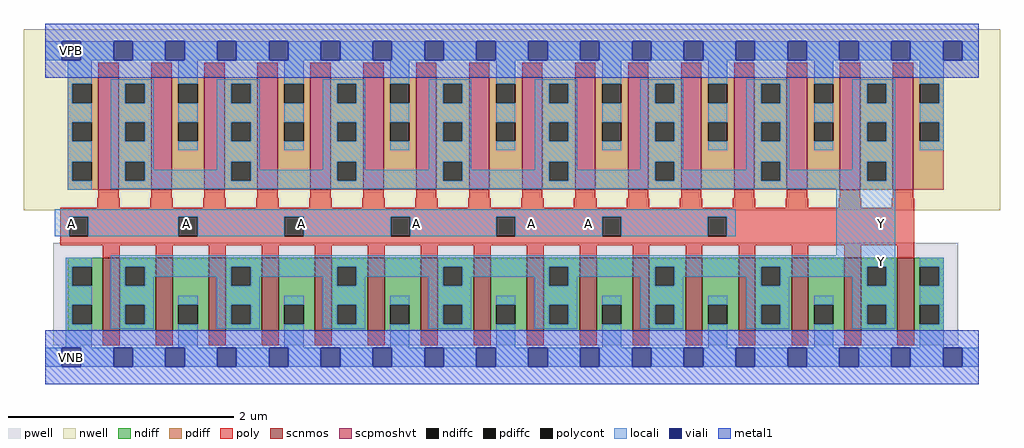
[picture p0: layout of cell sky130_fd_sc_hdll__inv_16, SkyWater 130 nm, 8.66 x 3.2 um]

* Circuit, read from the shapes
.subckt sky130_fd_sc_hdll__inv_16 A VGND VNB VPB VPWR Y
XM1 Y A VGND VNB sky130_fd_pr__nfet_01v8 w=0.65 l=0.15 m=16
XM2 Y A VPWR VPB sky130_fd_pr__pfet_01v8_hvt w=1 l=0.18 m=16
.ends

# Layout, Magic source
magic
tech sky130A
magscale 1 2
<< nwell >>
rect -38 261 1694 582
<< pwell >>
rect 14 21 1620 203
rect 29 -17 63 21
<< scnmos >>
rect 102 47 132 177
rect 196 47 226 177
rect 290 47 320 177
rect 384 47 414 177
rect 478 47 508 177
rect 572 47 602 177
rect 666 47 696 177
rect 760 47 790 177
rect 854 47 884 177
rect 948 47 978 177
rect 1042 47 1072 177
rect 1136 47 1166 177
rect 1230 47 1260 177
rect 1324 47 1354 177
rect 1418 47 1448 177
rect 1512 47 1542 177
<< scpmoshvt >>
rect 94 297 130 497
rect 188 297 224 497
rect 282 297 318 497
rect 376 297 412 497
rect 470 297 506 497
rect 564 297 600 497
rect 658 297 694 497
rect 752 297 788 497
rect 846 297 882 497
rect 940 297 976 497
rect 1034 297 1070 497
rect 1128 297 1164 497
rect 1222 297 1258 497
rect 1316 297 1352 497
rect 1410 297 1446 497
rect 1504 297 1540 497
<< ndiff >>
rect 40 161 102 177
rect 40 127 48 161
rect 82 127 102 161
rect 40 93 102 127
rect 40 59 48 93
rect 82 59 102 93
rect 40 47 102 59
rect 132 161 196 177
rect 132 127 142 161
rect 176 127 196 161
rect 132 93 196 127
rect 132 59 142 93
rect 176 59 196 93
rect 132 47 196 59
rect 226 93 290 177
rect 226 59 236 93
rect 270 59 290 93
rect 226 47 290 59
rect 320 161 384 177
rect 320 127 330 161
rect 364 127 384 161
rect 320 93 384 127
rect 320 59 330 93
rect 364 59 384 93
rect 320 47 384 59
rect 414 93 478 177
rect 414 59 424 93
rect 458 59 478 93
rect 414 47 478 59
rect 508 161 572 177
rect 508 127 518 161
rect 552 127 572 161
rect 508 93 572 127
rect 508 59 518 93
rect 552 59 572 93
rect 508 47 572 59
rect 602 93 666 177
rect 602 59 612 93
rect 646 59 666 93
rect 602 47 666 59
rect 696 161 760 177
rect 696 127 706 161
rect 740 127 760 161
rect 696 93 760 127
rect 696 59 706 93
rect 740 59 760 93
rect 696 47 760 59
rect 790 93 854 177
rect 790 59 800 93
rect 834 59 854 93
rect 790 47 854 59
rect 884 161 948 177
rect 884 127 894 161
rect 928 127 948 161
rect 884 93 948 127
rect 884 59 894 93
rect 928 59 948 93
rect 884 47 948 59
rect 978 93 1042 177
rect 978 59 988 93
rect 1022 59 1042 93
rect 978 47 1042 59
rect 1072 161 1136 177
rect 1072 127 1082 161
rect 1116 127 1136 161
rect 1072 93 1136 127
rect 1072 59 1082 93
rect 1116 59 1136 93
rect 1072 47 1136 59
rect 1166 93 1230 177
rect 1166 59 1176 93
rect 1210 59 1230 93
rect 1166 47 1230 59
rect 1260 161 1324 177
rect 1260 127 1270 161
rect 1304 127 1324 161
rect 1260 93 1324 127
rect 1260 59 1270 93
rect 1304 59 1324 93
rect 1260 47 1324 59
rect 1354 93 1418 177
rect 1354 59 1364 93
rect 1398 59 1418 93
rect 1354 47 1418 59
rect 1448 161 1512 177
rect 1448 127 1458 161
rect 1492 127 1512 161
rect 1448 93 1512 127
rect 1448 59 1458 93
rect 1492 59 1512 93
rect 1448 47 1512 59
rect 1542 161 1594 177
rect 1542 127 1552 161
rect 1586 127 1594 161
rect 1542 93 1594 127
rect 1542 59 1552 93
rect 1586 59 1594 93
rect 1542 47 1594 59
<< pdiff >>
rect 40 485 94 497
rect 40 451 48 485
rect 82 451 94 485
rect 40 417 94 451
rect 40 383 48 417
rect 82 383 94 417
rect 40 347 94 383
rect 40 313 48 347
rect 82 313 94 347
rect 40 297 94 313
rect 130 485 188 497
rect 130 451 142 485
rect 176 451 188 485
rect 130 417 188 451
rect 130 383 142 417
rect 176 383 188 417
rect 130 347 188 383
rect 130 313 142 347
rect 176 313 188 347
rect 130 297 188 313
rect 224 485 282 497
rect 224 451 236 485
rect 270 451 282 485
rect 224 417 282 451
rect 224 383 236 417
rect 270 383 282 417
rect 224 297 282 383
rect 318 485 376 497
rect 318 451 330 485
rect 364 451 376 485
rect 318 417 376 451
rect 318 383 330 417
rect 364 383 376 417
rect 318 347 376 383
rect 318 313 330 347
rect 364 313 376 347
rect 318 297 376 313
rect 412 485 470 497
rect 412 451 424 485
rect 458 451 470 485
rect 412 417 470 451
rect 412 383 424 417
rect 458 383 470 417
rect 412 297 470 383
rect 506 485 564 497
rect 506 451 518 485
rect 552 451 564 485
rect 506 417 564 451
rect 506 383 518 417
rect 552 383 564 417
rect 506 347 564 383
rect 506 313 518 347
rect 552 313 564 347
rect 506 297 564 313
rect 600 485 658 497
rect 600 451 612 485
rect 646 451 658 485
rect 600 417 658 451
rect 600 383 612 417
rect 646 383 658 417
rect 600 297 658 383
rect 694 485 752 497
rect 694 451 706 485
rect 740 451 752 485
rect 694 417 752 451
rect 694 383 706 417
rect 740 383 752 417
rect 694 347 752 383
rect 694 313 706 347
rect 740 313 752 347
rect 694 297 752 313
rect 788 485 846 497
rect 788 451 800 485
rect 834 451 846 485
rect 788 417 846 451
rect 788 383 800 417
rect 834 383 846 417
rect 788 297 846 383
rect 882 485 940 497
rect 882 451 894 485
rect 928 451 940 485
rect 882 417 940 451
rect 882 383 894 417
rect 928 383 940 417
rect 882 347 940 383
rect 882 313 894 347
rect 928 313 940 347
rect 882 297 940 313
rect 976 485 1034 497
rect 976 451 988 485
rect 1022 451 1034 485
rect 976 417 1034 451
rect 976 383 988 417
rect 1022 383 1034 417
rect 976 297 1034 383
rect 1070 485 1128 497
rect 1070 451 1082 485
rect 1116 451 1128 485
rect 1070 417 1128 451
rect 1070 383 1082 417
rect 1116 383 1128 417
rect 1070 347 1128 383
rect 1070 313 1082 347
rect 1116 313 1128 347
rect 1070 297 1128 313
rect 1164 485 1222 497
rect 1164 451 1176 485
rect 1210 451 1222 485
rect 1164 417 1222 451
rect 1164 383 1176 417
rect 1210 383 1222 417
rect 1164 297 1222 383
rect 1258 485 1316 497
rect 1258 451 1270 485
rect 1304 451 1316 485
rect 1258 417 1316 451
rect 1258 383 1270 417
rect 1304 383 1316 417
rect 1258 347 1316 383
rect 1258 313 1270 347
rect 1304 313 1316 347
rect 1258 297 1316 313
rect 1352 485 1410 497
rect 1352 451 1364 485
rect 1398 451 1410 485
rect 1352 417 1410 451
rect 1352 383 1364 417
rect 1398 383 1410 417
rect 1352 297 1410 383
rect 1446 485 1504 497
rect 1446 451 1458 485
rect 1492 451 1504 485
rect 1446 417 1504 451
rect 1446 383 1458 417
rect 1492 383 1504 417
rect 1446 347 1504 383
rect 1446 313 1458 347
rect 1492 313 1504 347
rect 1446 297 1504 313
rect 1540 485 1594 497
rect 1540 451 1552 485
rect 1586 451 1594 485
rect 1540 417 1594 451
rect 1540 383 1552 417
rect 1586 383 1594 417
rect 1540 297 1594 383
<< ndiffc >>
rect 48 127 82 161
rect 48 59 82 93
rect 142 127 176 161
rect 142 59 176 93
rect 236 59 270 93
rect 330 127 364 161
rect 330 59 364 93
rect 424 59 458 93
rect 518 127 552 161
rect 518 59 552 93
rect 612 59 646 93
rect 706 127 740 161
rect 706 59 740 93
rect 800 59 834 93
rect 894 127 928 161
rect 894 59 928 93
rect 988 59 1022 93
rect 1082 127 1116 161
rect 1082 59 1116 93
rect 1176 59 1210 93
rect 1270 127 1304 161
rect 1270 59 1304 93
rect 1364 59 1398 93
rect 1458 127 1492 161
rect 1458 59 1492 93
rect 1552 127 1586 161
rect 1552 59 1586 93
<< pdiffc >>
rect 48 451 82 485
rect 48 383 82 417
rect 48 313 82 347
rect 142 451 176 485
rect 142 383 176 417
rect 142 313 176 347
rect 236 451 270 485
rect 236 383 270 417
rect 330 451 364 485
rect 330 383 364 417
rect 330 313 364 347
rect 424 451 458 485
rect 424 383 458 417
rect 518 451 552 485
rect 518 383 552 417
rect 518 313 552 347
rect 612 451 646 485
rect 612 383 646 417
rect 706 451 740 485
rect 706 383 740 417
rect 706 313 740 347
rect 800 451 834 485
rect 800 383 834 417
rect 894 451 928 485
rect 894 383 928 417
rect 894 313 928 347
rect 988 451 1022 485
rect 988 383 1022 417
rect 1082 451 1116 485
rect 1082 383 1116 417
rect 1082 313 1116 347
rect 1176 451 1210 485
rect 1176 383 1210 417
rect 1270 451 1304 485
rect 1270 383 1304 417
rect 1270 313 1304 347
rect 1364 451 1398 485
rect 1364 383 1398 417
rect 1458 451 1492 485
rect 1458 383 1492 417
rect 1458 313 1492 347
rect 1552 451 1586 485
rect 1552 383 1586 417
<< poly >>
rect 94 497 130 523
rect 188 497 224 523
rect 282 497 318 523
rect 376 497 412 523
rect 470 497 506 523
rect 564 497 600 523
rect 658 497 694 523
rect 752 497 788 523
rect 846 497 882 523
rect 940 497 976 523
rect 1034 497 1070 523
rect 1128 497 1164 523
rect 1222 497 1258 523
rect 1316 497 1352 523
rect 1410 497 1446 523
rect 1504 497 1540 523
rect 94 282 130 297
rect 188 282 224 297
rect 282 282 318 297
rect 376 282 412 297
rect 470 282 506 297
rect 564 282 600 297
rect 658 282 694 297
rect 752 282 788 297
rect 846 282 882 297
rect 940 282 976 297
rect 1034 282 1070 297
rect 1128 282 1164 297
rect 1222 282 1258 297
rect 1316 282 1352 297
rect 1410 282 1446 297
rect 1504 282 1540 297
rect 92 265 132 282
rect 186 265 226 282
rect 280 265 320 282
rect 374 265 414 282
rect 468 265 508 282
rect 562 265 602 282
rect 656 265 696 282
rect 750 265 790 282
rect 844 265 884 282
rect 938 265 978 282
rect 1032 265 1072 282
rect 1126 265 1166 282
rect 1220 265 1260 282
rect 1314 265 1354 282
rect 1408 265 1448 282
rect 1502 265 1542 282
rect 26 249 1542 265
rect 26 215 42 249
rect 76 215 236 249
rect 270 215 424 249
rect 458 215 613 249
rect 647 215 800 249
rect 834 215 988 249
rect 1022 215 1175 249
rect 1209 215 1542 249
rect 26 199 1542 215
rect 102 177 132 199
rect 196 177 226 199
rect 290 177 320 199
rect 384 177 414 199
rect 478 177 508 199
rect 572 177 602 199
rect 666 177 696 199
rect 760 177 790 199
rect 854 177 884 199
rect 948 177 978 199
rect 1042 177 1072 199
rect 1136 177 1166 199
rect 1230 177 1260 199
rect 1324 177 1354 199
rect 1418 177 1448 199
rect 1512 177 1542 199
rect 102 21 132 47
rect 196 21 226 47
rect 290 21 320 47
rect 384 21 414 47
rect 478 21 508 47
rect 572 21 602 47
rect 666 21 696 47
rect 760 21 790 47
rect 854 21 884 47
rect 948 21 978 47
rect 1042 21 1072 47
rect 1136 21 1166 47
rect 1230 21 1260 47
rect 1324 21 1354 47
rect 1418 21 1448 47
rect 1512 21 1542 47
<< polycont >>
rect 42 215 76 249
rect 236 215 270 249
rect 424 215 458 249
rect 613 215 647 249
rect 800 215 834 249
rect 988 215 1022 249
rect 1175 215 1209 249
<< locali >>
rect 0 527 29 561
rect 63 527 121 561
rect 155 527 213 561
rect 247 527 305 561
rect 339 527 397 561
rect 431 527 489 561
rect 523 527 581 561
rect 615 527 673 561
rect 707 527 765 561
rect 799 527 857 561
rect 891 527 949 561
rect 983 527 1041 561
rect 1075 527 1133 561
rect 1167 527 1225 561
rect 1259 527 1317 561
rect 1351 527 1409 561
rect 1443 527 1501 561
rect 1535 527 1593 561
rect 1627 527 1656 561
rect 40 485 82 527
rect 40 451 48 485
rect 40 417 82 451
rect 40 383 48 417
rect 40 347 82 383
rect 40 313 48 347
rect 40 297 82 313
rect 116 485 192 493
rect 116 451 142 485
rect 176 451 192 485
rect 116 417 192 451
rect 116 383 142 417
rect 176 383 192 417
rect 116 347 192 383
rect 236 485 270 527
rect 236 417 270 451
rect 236 367 270 383
rect 304 485 380 493
rect 304 451 330 485
rect 364 451 380 485
rect 304 417 380 451
rect 304 383 330 417
rect 364 383 380 417
rect 116 313 142 347
rect 176 333 192 347
rect 304 347 380 383
rect 424 485 458 527
rect 424 417 458 451
rect 424 367 458 383
rect 492 485 568 493
rect 492 451 518 485
rect 552 451 568 485
rect 492 417 568 451
rect 492 383 518 417
rect 552 383 568 417
rect 304 333 330 347
rect 176 313 330 333
rect 364 333 380 347
rect 492 347 568 383
rect 612 485 646 527
rect 612 417 646 451
rect 612 367 646 383
rect 680 485 756 493
rect 680 451 706 485
rect 740 451 756 485
rect 680 417 756 451
rect 680 383 706 417
rect 740 383 756 417
rect 492 333 518 347
rect 364 313 518 333
rect 552 333 568 347
rect 680 347 756 383
rect 800 485 834 527
rect 800 417 834 451
rect 800 367 834 383
rect 868 485 944 493
rect 868 451 894 485
rect 928 451 944 485
rect 868 417 944 451
rect 868 383 894 417
rect 928 383 944 417
rect 680 333 706 347
rect 552 313 706 333
rect 740 333 756 347
rect 868 347 944 383
rect 988 485 1022 527
rect 988 417 1022 451
rect 988 367 1022 383
rect 1056 485 1132 493
rect 1056 451 1082 485
rect 1116 451 1132 485
rect 1056 417 1132 451
rect 1056 383 1082 417
rect 1116 383 1132 417
rect 868 333 894 347
rect 740 313 894 333
rect 928 333 944 347
rect 1056 347 1132 383
rect 1176 485 1210 527
rect 1176 417 1210 451
rect 1176 367 1210 383
rect 1244 485 1320 493
rect 1244 451 1270 485
rect 1304 451 1320 485
rect 1244 417 1320 451
rect 1244 383 1270 417
rect 1304 383 1320 417
rect 1056 333 1082 347
rect 928 313 1082 333
rect 1116 333 1132 347
rect 1244 347 1320 383
rect 1364 485 1398 527
rect 1364 417 1398 451
rect 1364 367 1398 383
rect 1432 485 1508 493
rect 1432 451 1458 485
rect 1492 451 1508 485
rect 1432 417 1508 451
rect 1432 383 1458 417
rect 1492 383 1508 417
rect 1244 333 1270 347
rect 1116 313 1270 333
rect 1304 333 1320 347
rect 1432 347 1508 383
rect 1552 485 1594 527
rect 1586 451 1594 485
rect 1552 417 1594 451
rect 1586 383 1594 417
rect 1552 367 1594 383
rect 1432 333 1458 347
rect 1304 313 1458 333
rect 1492 313 1508 347
rect 116 299 1508 313
rect 17 249 1225 263
rect 17 215 42 249
rect 76 215 236 249
rect 270 215 424 249
rect 458 215 613 249
rect 647 215 800 249
rect 834 215 988 249
rect 1022 215 1175 249
rect 1209 215 1225 249
rect 1403 181 1508 299
rect 36 161 82 177
rect 36 127 48 161
rect 36 93 82 127
rect 36 59 48 93
rect 36 17 82 59
rect 116 161 1508 181
rect 116 127 142 161
rect 176 143 330 161
rect 176 127 192 143
rect 116 93 192 127
rect 304 127 330 143
rect 364 143 518 161
rect 364 127 380 143
rect 116 59 142 93
rect 176 59 192 93
rect 116 51 192 59
rect 236 93 270 109
rect 236 17 270 59
rect 304 93 380 127
rect 492 127 518 143
rect 552 143 706 161
rect 552 127 568 143
rect 304 59 330 93
rect 364 59 380 93
rect 304 51 380 59
rect 424 93 458 109
rect 424 17 458 59
rect 492 93 568 127
rect 680 127 706 143
rect 740 143 894 161
rect 740 127 756 143
rect 492 59 518 93
rect 552 59 568 93
rect 492 51 568 59
rect 612 93 646 109
rect 612 17 646 59
rect 680 93 756 127
rect 868 127 894 143
rect 928 143 1082 161
rect 928 127 944 143
rect 680 59 706 93
rect 740 59 756 93
rect 680 51 756 59
rect 800 93 834 109
rect 800 17 834 59
rect 868 93 944 127
rect 1056 127 1082 143
rect 1116 143 1270 161
rect 1116 127 1132 143
rect 868 59 894 93
rect 928 59 944 93
rect 868 51 944 59
rect 988 93 1022 109
rect 988 17 1022 59
rect 1056 93 1132 127
rect 1244 127 1270 143
rect 1304 143 1458 161
rect 1304 127 1320 143
rect 1056 59 1082 93
rect 1116 59 1132 93
rect 1056 51 1132 59
rect 1176 93 1210 109
rect 1176 17 1210 59
rect 1244 93 1320 127
rect 1432 127 1458 143
rect 1492 127 1508 161
rect 1244 59 1270 93
rect 1304 59 1320 93
rect 1244 51 1320 59
rect 1364 93 1398 109
rect 1364 17 1398 59
rect 1432 93 1508 127
rect 1432 59 1458 93
rect 1492 59 1508 93
rect 1432 51 1508 59
rect 1552 161 1594 177
rect 1586 127 1594 161
rect 1552 93 1594 127
rect 1586 59 1594 93
rect 1552 17 1594 59
rect 0 -17 29 17
rect 63 -17 121 17
rect 155 -17 213 17
rect 247 -17 305 17
rect 339 -17 397 17
rect 431 -17 489 17
rect 523 -17 581 17
rect 615 -17 673 17
rect 707 -17 765 17
rect 799 -17 857 17
rect 891 -17 949 17
rect 983 -17 1041 17
rect 1075 -17 1133 17
rect 1167 -17 1225 17
rect 1259 -17 1317 17
rect 1351 -17 1409 17
rect 1443 -17 1501 17
rect 1535 -17 1593 17
rect 1627 -17 1656 17
<< viali >>
rect 29 527 63 561
rect 121 527 155 561
rect 213 527 247 561
rect 305 527 339 561
rect 397 527 431 561
rect 489 527 523 561
rect 581 527 615 561
rect 673 527 707 561
rect 765 527 799 561
rect 857 527 891 561
rect 949 527 983 561
rect 1041 527 1075 561
rect 1133 527 1167 561
rect 1225 527 1259 561
rect 1317 527 1351 561
rect 1409 527 1443 561
rect 1501 527 1535 561
rect 1593 527 1627 561
rect 29 -17 63 17
rect 121 -17 155 17
rect 213 -17 247 17
rect 305 -17 339 17
rect 397 -17 431 17
rect 489 -17 523 17
rect 581 -17 615 17
rect 673 -17 707 17
rect 765 -17 799 17
rect 857 -17 891 17
rect 949 -17 983 17
rect 1041 -17 1075 17
rect 1133 -17 1167 17
rect 1225 -17 1259 17
rect 1317 -17 1351 17
rect 1409 -17 1443 17
rect 1501 -17 1535 17
rect 1593 -17 1627 17
<< metal1 >>
rect 0 561 1656 592
rect 0 527 29 561
rect 63 527 121 561
rect 155 527 213 561
rect 247 527 305 561
rect 339 527 397 561
rect 431 527 489 561
rect 523 527 581 561
rect 615 527 673 561
rect 707 527 765 561
rect 799 527 857 561
rect 891 527 949 561
rect 983 527 1041 561
rect 1075 527 1133 561
rect 1167 527 1225 561
rect 1259 527 1317 561
rect 1351 527 1409 561
rect 1443 527 1501 561
rect 1535 527 1593 561
rect 1627 527 1656 561
rect 0 496 1656 527
rect 0 17 1656 48
rect 0 -17 29 17
rect 63 -17 121 17
rect 155 -17 213 17
rect 247 -17 305 17
rect 339 -17 397 17
rect 431 -17 489 17
rect 523 -17 581 17
rect 615 -17 673 17
rect 707 -17 765 17
rect 799 -17 857 17
rect 891 -17 949 17
rect 983 -17 1041 17
rect 1075 -17 1133 17
rect 1167 -17 1225 17
rect 1259 -17 1317 17
rect 1351 -17 1409 17
rect 1443 -17 1501 17
rect 1535 -17 1593 17
rect 1627 -17 1656 17
rect 0 -48 1656 -17
<< labels >>
flabel locali s 1467 221 1501 255 0 FreeSans 340 0 0 0 Y
port 6 nsew signal output
flabel locali s 1467 153 1501 187 0 FreeSans 340 0 0 0 Y
port 6 nsew signal output
flabel locali s 29 221 63 255 0 FreeSans 340 0 0 0 A
port 1 nsew signal input
flabel locali s 233 221 267 255 0 FreeSans 340 0 0 0 A
port 1 nsew signal input
flabel locali s 437 221 471 255 0 FreeSans 340 0 0 0 A
port 1 nsew signal input
flabel locali s 641 221 675 255 0 FreeSans 340 0 0 0 A
port 1 nsew signal input
flabel locali s 845 221 879 255 0 FreeSans 340 0 0 0 A
port 1 nsew signal input
flabel locali s 947 221 981 255 0 FreeSans 340 0 0 0 A
port 1 nsew signal input
flabel nwell s 29 527 63 561 0 FreeSans 200 0 0 0 VPB
port 4 nsew power bidirectional
flabel pwell s 29 -17 63 17 0 FreeSans 200 0 0 0 VNB
port 3 nsew ground bidirectional
flabel metal1 s 29 -17 63 17 0 FreeSans 200 0 0 0 VGND
port 2 nsew ground bidirectional
flabel metal1 s 29 527 63 561 0 FreeSans 200 0 0 0 VPWR
port 5 nsew power bidirectional
rlabel comment s 0 0 0 0 4 inv_16
<< properties >>
string LEFsite unithd
string LEFclass CORE
string FIXED_BBOX 0 0 1656 544
string GDS_FILE $PDKPATH/libs.ref/sky130_fd_sc_hdll/gds/sky130_fd_sc_hdll.gds
string LEFsymmetry X Y R90
string GDS_END 2119858
string GDS_START 2107446
string LEFproperties maskLayoutSubType "abstract" prCellType "standard" originalViewName "layout"
<< end >>
